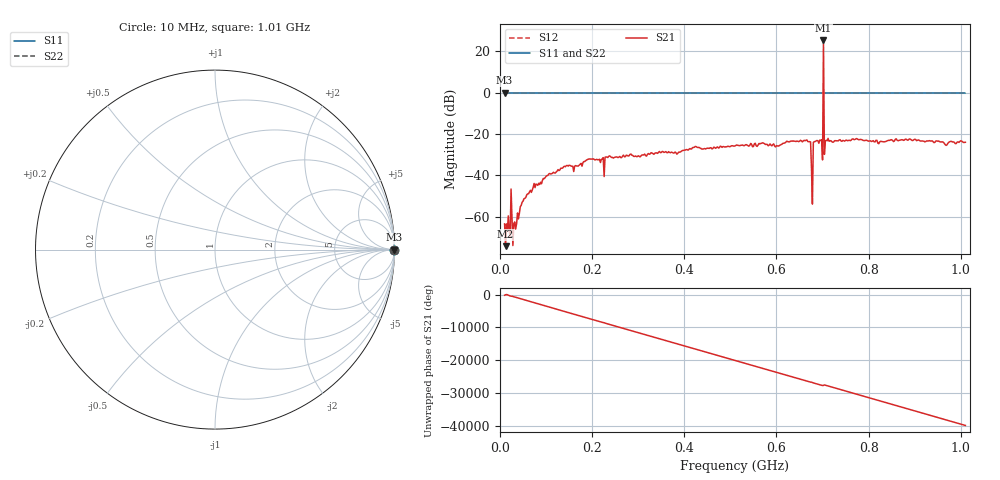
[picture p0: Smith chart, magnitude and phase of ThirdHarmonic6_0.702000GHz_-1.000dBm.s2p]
! 8/15/2025 11:27:53 PM
! C:\ANRITSUVNA\TEMP\TEMP.S2P
! CHANNEL.1
! TR.MEASUREMENT
! RAW.DATA
! RF.CORRECTION.OFF
! AVERAGING.OFF
! IF.BANDWIDTH: 5KHZ
! SWEEPTYPE:  FREQ.SWEEP(Linear)
! Reference Plane Port Info
! PORT:  PORT1  PORT2
! DISTANCE:  0  m  0  m
! TIME:  0  s  0  s
! PHASE.OFFSET:  0  deg.  0  deg.
! LOSS:  0  dB  0  dB
! REF.LOSS:  0  dB  0  dB
! REF.FREQ:  0  Hz  0  Hz
! Power Info
! POWER:  -20  dBm  -20  dBm
! EFF.POWER:  -20  dBm  -20  dBm
! SOURCE.ATTEN:  0  dB  0  dB
! TEST.ATTEN:  0  dB  0  dB
# GHZ S RI R 50.0
! FREQ.GHZ  S11RE  S11IM  S21RE  S21IM  S12RE  S12IM  S22RE  S22IM
!; PortSelection: Port_12
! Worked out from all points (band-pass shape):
!   501 points, 10 MHz to 1.01 GHz, reference 50 ohm
!   highest |S21| = 25.28 dB at 702 MHz (marker M1); lowest = -74.3 dB at 12 MHz (marker M2)
!   |S21| within 3 dB of the highest: 701.8963 MHz to 702.1088 MHz (212.5 kHz wide, 0.0303 % of centre)
!   lowest |S11| = 0.0 dB at 10 MHz (marker M3)
!   |S11| at or under -10 dB: nowhere
!   |S22| runs from 0.0 to 0.0 dB; largest |S21 - S12| = 18
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0.01  1 0  -0.000642 -0.00018  1 0  1 0
0.012  1 0  0.000155 -0.000114  1 0  1 0
0.022  1 0  0.00024 -0.000201  1 0  1 0
0.032  1 0  0.000724 0.000169  1 0  1 0
0.048  1 0  0.000597 0.00213  1 0  1 0
0.076  1 0  0.00504 0.000125  1 0  1 0
0.178  1 0  -0.0163 -0.0029  1 0  1 0
0.344  1 0  0.0313 -0.0179  1 0  1 0
0.51  1 0  -0.0303 0.0417  1 0  1 0
0.664  1 0  0.0565 0.0412  1 0  1 0
0.67  1 0  -0.0573 0.0305  1 0  1 0
0.674  1 0  0.0631 -0.0105  1 0  1 0
0.678  1 0  -0.00176 -0.000968  1 0  1 0
0.682  1 0  0.0577 0.03  1 0  1 0
0.684  1 0  0.0425 -0.0503  1 0  1 0
0.696  1 0  -0.0698 -0.00411  1 0  1 0
0.698  1 0  -0.0158 0.0711  1 0  1 0
0.702  1 0  3.9 17.94  1 0  1 0
0.706  1 0  -0.05 0.0459  1 0  1 0
0.708  1 0  0.0391 0.0583  1 0  1 0
0.844  1 0  0.0619 -0.0335  1 0  1 0
1.01  1 0  -0.0202 0.0597  1 0  1 0
